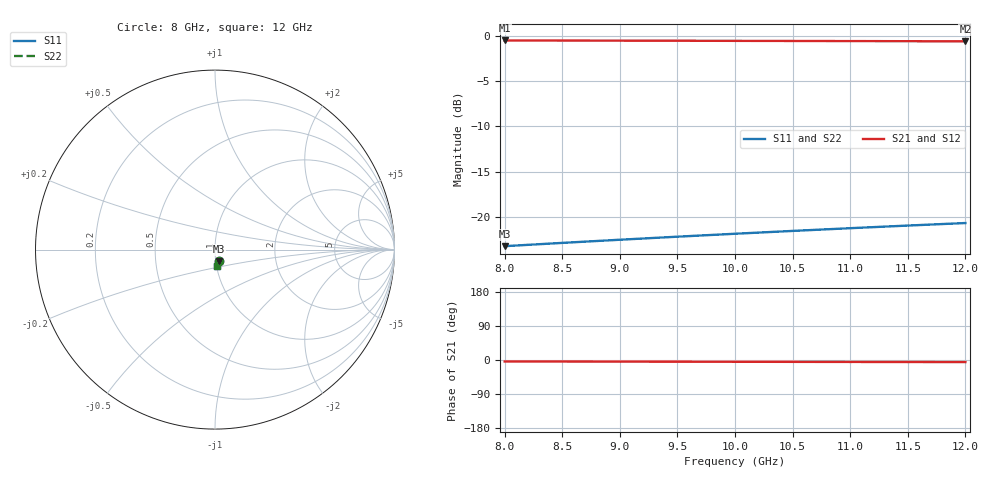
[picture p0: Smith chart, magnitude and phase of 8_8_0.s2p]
! Created Mon Oct 19 10:39:31 2020
# ghz S db R 50
! 2 Port Network Data from SP1.SP block
! freq  dbS11  angS11  dbS21  angS21  dbS12  angS12  dbS22  angS22
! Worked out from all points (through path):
!   9 points, 8 GHz to 12 GHz, reference 50 ohm
!   highest |S21| = -0.49 dB at 8 GHz (marker M1); lowest = -0.6 dB at 12 GHz (marker M2)
!   lowest |S11| = -23.2 dB at 8 GHz (marker M3), VSWR 1.15, Z = 52.1 - j6.73 ohm
!   |S11| at or under -10 dB: start of sweep to end of sweep
!   |S22| runs from -23.2 to -20.7 dB; largest |S21 - S12| = 3.3e-16
8  -23.25 -69.3  -0.49 -3.8  -0.49 -3.8  -23.25 -69.3
8.5  -22.88 -71.3  -0.50 -4.1  -0.50 -4.1  -22.88 -71.3
9  -22.53 -73.2  -0.52 -4.3  -0.52 -4.3  -22.53 -73.2
9.5  -22.20 -75.0  -0.53 -4.5  -0.53 -4.5  -22.20 -75.0
10  -21.87 -76.7  -0.54 -4.7  -0.54 -4.7  -21.87 -76.7
10.5  -21.56 -78.3  -0.55 -4.9  -0.55 -4.9  -21.56 -78.3
11  -21.26 -79.9  -0.56 -5.1  -0.56 -5.1  -21.26 -79.9
11.5  -20.97 -81.3  -0.58 -5.3  -0.58 -5.3  -20.97 -81.3
12  -20.69 -82.7  -0.59 -5.5  -0.59 -5.5  -20.69 -82.7
